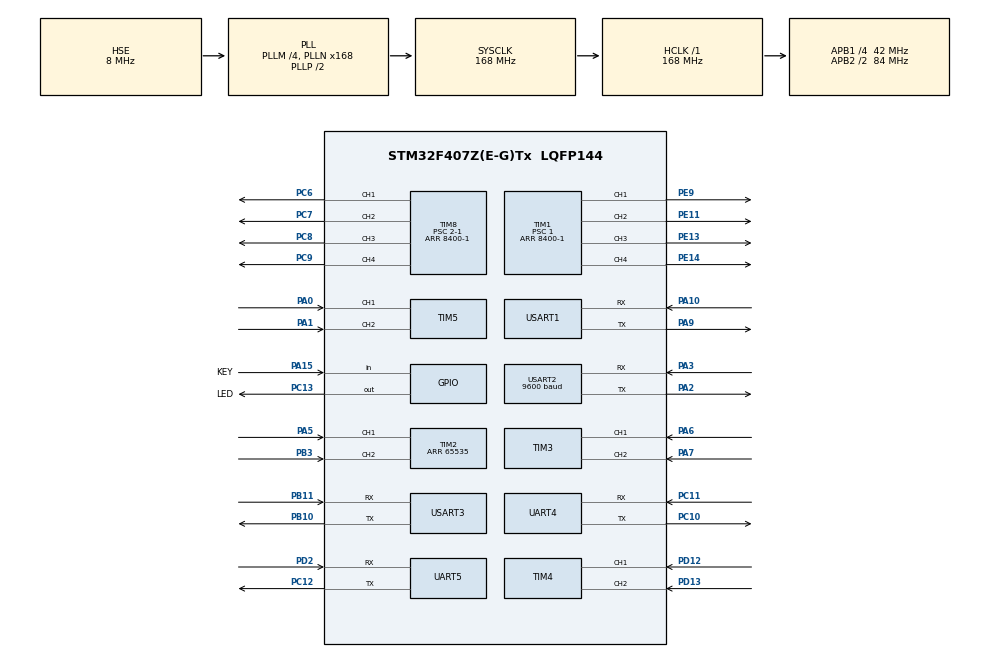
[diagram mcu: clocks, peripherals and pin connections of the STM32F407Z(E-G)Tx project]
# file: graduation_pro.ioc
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Mcu.Family=STM32F4
Mcu.Name=STM32F407Z(E-G)Tx
Mcu.Package=LQFP144
NVIC.PriorityGroup=NVIC_PRIORITYGROUP_4
NVIC.USART1_IRQn=true\:1\:0\:true\:false\:true\:true\:true\:true
PA0-WKUP.GPIO_PuPd=GPIO_PULLUP
PA0-WKUP.Signal=S_TIM5_CH1
PA1.GPIO_PuPd=GPIO_PULLUP
PA1.Signal=S_TIM5_CH2
PA10.Mode=Asynchronous
PA10.Signal=USART1_RX
PA13.Mode=Serial_Wire
PA13.Signal=SYS_JTMS-SWDIO
PA14.Mode=Serial_Wire
PA14.Signal=SYS_JTCK-SWCLK
PA15.GPIO_Label=KEY
PA15.Signal=GPIO_Input
PA2.Mode=Asynchronous
PA2.Signal=USART2_TX
PA3.Mode=Asynchronous
PA3.Signal=USART2_RX
PA5.GPIO_PuPd=GPIO_PULLUP
PA5.Signal=S_TIM2_CH1_ETR
PA6.GPIO_PuPd=GPIO_PULLUP
PA6.Signal=S_TIM3_CH1
PA7.GPIO_PuPd=GPIO_PULLUP
PA7.Signal=S_TIM3_CH2
PA9.Mode=Asynchronous
PA9.Signal=USART1_TX
PB10.Mode=Asynchronous
PB10.Signal=USART3_TX
PB11.Mode=Asynchronous
PB11.Signal=USART3_RX
PB3.GPIO_PuPd=GPIO_PULLUP
PB3.Signal=S_TIM2_CH2
PC10.Mode=Asynchronous
PC10.Signal=UART4_TX
PC11.Mode=Asynchronous
PC11.Signal=UART4_RX
PC12.Mode=Asynchronous
PC12.Signal=UART5_TX
PC13-ANTI_TAMP.GPIO_Label=LED
PC13-ANTI_TAMP.Signal=GPIO_Output
PC6.Signal=S_TIM8_CH1
PC7.Signal=S_TIM8_CH2
PC8.Signal=S_TIM8_CH3
PC9.Signal=S_TIM8_CH4
PD12.GPIO_PuPd=GPIO_PULLUP
PD12.Signal=S_TIM4_CH1
PD13.GPIO_PuPd=GPIO_PULLUP
PD13.Signal=S_TIM4_CH2
PD2.Mode=Asynchronous
PD2.Signal=UART5_RX
PE11.Signal=S_TIM1_CH2
PE13.Signal=S_TIM1_CH3
PE14.Signal=S_TIM1_CH4
PE9.Signal=S_TIM1_CH1
PH0-OSC_IN.Mode=HSE-External-Oscillator
PH0-OSC_IN.Signal=RCC_OSC_IN
PH1-OSC_OUT.Mode=HSE-External-Oscillator
PH1-OSC_OUT.Signal=RCC_OSC_OUT
ProjectManager.HeapSize=0x200
ProjectManager.StackSize=0x400
ProjectManager.TargetToolchain=MDK-ARM V5.32
RCC.48MHZClocksFreq_Value=84000000
RCC.AHBFreq_Value=168000000
RCC.APB1CLKDivider=RCC_HCLK_DIV4
RCC.APB1Freq_Value=42000000
RCC.APB1TimFreq_Value=84000000
RCC.APB2CLKDivider=RCC_HCLK_DIV2
RCC.APB2Freq_Value=84000000
RCC.APB2TimFreq_Value=168000000
RCC.CortexFreq_Value=168000000
RCC.HCLKFreq_Value=168000000
RCC.HSE_VALUE=8000000
RCC.HSI_VALUE=16000000
RCC.LSE_VALUE=32768
RCC.PLLM=4
RCC.PLLN=168
RCC.PLLSourceVirtual=RCC_PLLSOURCE_HSE
RCC.SYSCLKFreq_VALUE=168000000
RCC.SYSCLKSource=RCC_SYSCLKSOURCE_PLLCLK
RCC.VCOOutputFreq_Value=336000000
SH.S_TIM1_CH1.0=TIM1_CH1,PWM Generation1 CH1
SH.S_TIM1_CH2.0=TIM1_CH2,PWM Generation2 CH2
SH.S_TIM1_CH3.0=TIM1_CH3,PWM Generation3 CH3
SH.S_TIM1_CH4.0=TIM1_CH4,PWM Generation4 CH4
SH.S_TIM2_CH1_ETR.0=TIM2_CH1,Encoder_Interface
SH.S_TIM2_CH2.0=TIM2_CH2,Encoder_Interface
SH.S_TIM3_CH1.0=TIM3_CH1,Encoder_Interface
SH.S_TIM3_CH2.0=TIM3_CH2,Encoder_Interface
SH.S_TIM4_CH1.0=TIM4_CH1,Encoder_Interface
SH.S_TIM4_CH2.0=TIM4_CH2,Encoder_Interface
SH.S_TIM5_CH1.0=TIM5_CH1,Encoder_Interface
SH.S_TIM5_CH2.0=TIM5_CH2,Encoder_Interface
SH.S_TIM8_CH1.0=TIM8_CH1,PWM Generation1 CH1
SH.S_TIM8_CH2.0=TIM8_CH2,PWM Generation2 CH2
SH.S_TIM8_CH3.0=TIM8_CH3,PWM Generation3 CH3
SH.S_TIM8_CH4.0=TIM8_CH4,PWM Generation4 CH4
TIM1.Channel-PWM\ Generation1\ CH1=TIM_CHANNEL_1
TIM1.Channel-PWM\ Generation2\ CH2=TIM_CHANNEL_2
TIM1.Channel-PWM\ Generation3\ CH3=TIM_CHANNEL_3
TIM1.Channel-PWM\ Generation4\ CH4=TIM_CHANNEL_4
TIM1.Period=8400-1
TIM1.Prescaler=1
TIM2.Period=65535
TIM8.Channel-PWM\ Generation1\ CH1=TIM_CHANNEL_1
TIM8.Channel-PWM\ Generation2\ CH2=TIM_CHANNEL_2
TIM8.Channel-PWM\ Generation3\ CH3=TIM_CHANNEL_3
TIM8.Channel-PWM\ Generation4\ CH4=TIM_CHANNEL_4
TIM8.Period=8400-1
TIM8.Prescaler=2-1
UART4.VirtualMode=Asynchronous
UART5.VirtualMode=Asynchronous
USART1.VirtualMode=VM_ASYNC
USART2.BaudRate=9600
USART2.VirtualMode=VM_ASYNC
USART3.VirtualMode=VM_ASYNC
VP_TIM1_VS_ClockSourceINT.Mode=Internal
VP_TIM8_VS_ClockSourceINT.Mode=Internal
board=custom

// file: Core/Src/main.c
/* USER CODE BEGIN Header */
/**
  ******************************************************************************
  * @file           : main.c
  * @brief          : Main program body
  ******************************************************************************
  * @attention
  *
  * Copyright (c) 2023 STMicroelectronics.
  * All rights reserved.
  *
  * This software is licensed under terms that can be found in the LICENSE file
  * in the root directory of this software component.
  * If no LICENSE file comes with this software, it is provided AS-IS.
  *
  ******************************************************************************
  */
/* USER CODE END Header */
#include "main.h"
#include "tim.h"
#include "usart.h"
#include "gpio.h"

/* USER CODE BEGIN Includes */
#include "control.h"
#include "jy901.h"
#include "led.h"
#include "key.h"
#include "pid.h"
#include "delay.h"
/* USER CODE END Includes */

void SystemClock_Config(void);

int main(void)
{

  /* MCU Configuration--------------------------------------------------------*/

  /* Reset of all peripherals, Initializes the Flash interface and the Systick. */
  HAL_Init();

  /* Configure the system clock */
  SystemClock_Config();

  /* USER CODE BEGIN SysInit */
	delay_init(168);
  /* USER CODE END SysInit */

  /* Initialize all configured peripherals */
  MX_GPIO_Init();
  MX_TIM1_Init();
  MX_TIM2_Init();
  MX_TIM3_Init();
  MX_TIM4_Init();
  MX_TIM5_Init();
  MX_TIM8_Init();
  MX_UART4_Init();
  MX_UART5_Init();
  MX_USART1_UART_Init();
  MX_USART2_UART_Init();
  MX_USART3_UART_Init();
  /* USER CODE BEGIN 2 */
	HWT_init();
  /* USER CODE END 2 */

  /* Infinite loop */
  while (1)
  {

    /* USER CODE BEGIN 3 */
		Led_Flash(10);
		delay_ms(50);
  }
  /* USER CODE END 3 */
}

void SystemClock_Config(void)
{
  RCC_OscInitTypeDef RCC_OscInitStruct = {0};
  RCC_ClkInitTypeDef RCC_ClkInitStruct = {0};

  /** Configure the main internal regulator output voltage
  */
  __HAL_RCC_PWR_CLK_ENABLE();
  __HAL_PWR_VOLTAGESCALING_CONFIG(PWR_REGULATOR_VOLTAGE_SCALE1);

  /** Initializes the RCC Oscillators according to the specified parameters
  * in the RCC_OscInitTypeDef structure.
  */
  RCC_OscInitStruct.OscillatorType = RCC_OSCILLATORTYPE_HSE;
  RCC_OscInitStruct.HSEState = RCC_HSE_ON;
  RCC_OscInitStruct.PLL.PLLState = RCC_PLL_ON;
  RCC_OscInitStruct.PLL.PLLSource = RCC_PLLSOURCE_HSE;
  RCC_OscInitStruct.PLL.PLLM = 4;
  RCC_OscInitStruct.PLL.PLLN = 168;
  RCC_OscInitStruct.PLL.PLLP = RCC_PLLP_DIV2;
  RCC_OscInitStruct.PLL.PLLQ = 4;
  if (HAL_RCC_OscConfig(&RCC_OscInitStruct) != HAL_OK)
  {
    Error_Handler();
  }

  /** Initializes the CPU, AHB and APB buses clocks
  */
  RCC_ClkInitStruct.ClockType = RCC_CLOCKTYPE_HCLK|RCC_CLOCKTYPE_SYSCLK
                              |RCC_CLOCKTYPE_PCLK1|RCC_CLOCKTYPE_PCLK2;
  RCC_ClkInitStruct.SYSCLKSource = RCC_SYSCLKSOURCE_PLLCLK;
  RCC_ClkInitStruct.AHBCLKDivider = RCC_SYSCLK_DIV1;
  RCC_ClkInitStruct.APB1CLKDivider = RCC_HCLK_DIV4;
  RCC_ClkInitStruct.APB2CLKDivider = RCC_HCLK_DIV2;

  if (HAL_RCC_ClockConfig(&RCC_ClkInitStruct, FLASH_LATENCY_5) != HAL_OK)
  {
    Error_Handler();
  }
}

/* USER CODE BEGIN 4 */
void HAL_UART_RxCpltCallback(UART_HandleTypeDef *huart)
{
	if(huart==&huart1)
	{
		CopeSerial2Data(TxBuffer_T);//处理数据
		HAL_UART_Receive_IT(&huart1,&TxBuffer_T,1);
		yaw=(float)stcAngle.Angle[2]/32768*180;
	}
}
/* USER CODE END 4 */

void Error_Handler(void)
{
  __disable_irq();
  while (1)
  {
  }
}
